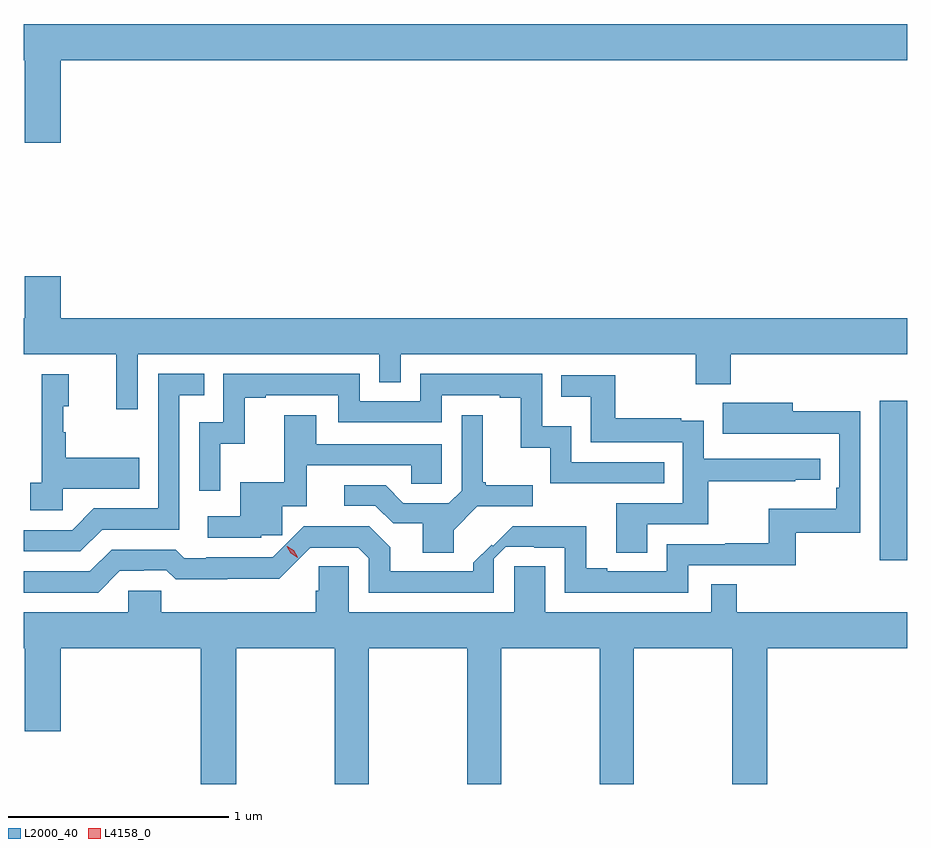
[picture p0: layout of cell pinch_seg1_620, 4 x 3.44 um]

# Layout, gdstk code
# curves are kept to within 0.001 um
import gdstk
lib = gdstk.Library(unit=1e-6, precision=1e-09)
def R(c, l, rs):  # rectangles x0, y0, x1, y1
    for r in rs: c.add(gdstk.rectangle(r[:2], r[2:], *l))
def P(c, l, *ps):  # polygons
    for p in ps: c.add(gdstk.Polygon(p, *l))
L2000_40 = (2000, 40)
L4158_0 = (4158, 0)

pinch_seg1_620 = lib.new_cell('pinch_seg1_620')
R(pinch_seg1_620, L2000_40, [(1139.909,509.508,1140.032,510.229)])
P(pinch_seg1_620, L2000_40, [(1136.2,511.772),(1140.032,511.772),(1140.032,511.936),(1136.032,511.936),(1136.032,511.772),(1136.036,511.772),(1136.036,511.398),(1136.2,511.398)],
  [(1136.547,510.44),(1137.642,510.44),(1137.642,510.313),(1137.738,510.313),(1137.738,510.44),(1139.074,510.44),(1139.074,510.305),(1139.234,510.305),(1139.234,510.44),(1140.032,510.44),(1140.032,510.604),(1136.2,510.604),(1136.2,510.793),(1136.036,510.793),(1136.036,510.604),(1136.032,510.604),(1136.032,510.44),(1136.45,510.44),(1136.45,510.192),(1136.547,510.192)],
  [(1136.922,510.035),(1137.032,510.035),(1137.032,510.243),(1137.127,510.243),(1137.127,510.255),(1137.456,510.255),(1137.456,510.132),(1137.924,510.132),(1137.924,510.255),(1138.187,510.255),(1138.187,510.243),(1138.283,510.243),(1138.283,510.017),(1138.416,510.017),(1138.416,509.856),(1138.931,509.856),(1138.931,509.952),(1138.512,509.952),(1138.512,510.115),(1138.38,510.115),(1138.38,510.351),(1137.828,510.351),(1137.828,510.228),(1137.552,510.228),(1137.552,510.351),(1136.934,510.351),(1136.934,510.132),(1136.826,510.132),(1136.826,509.823),(1136.922,509.823)],
  [(1136.386,509.646),(1136.736,509.646),(1136.736,510.255),(1136.849,510.255),(1136.849,510.351),(1136.64,510.351),(1136.64,509.742),(1136.349,509.742),(1136.25,509.643),(1136.032,509.643),(1136.032,509.547),(1136.287,509.547)],
  [(1136.208,509.831),(1136.555,509.831),(1136.555,509.971),(1136.221,509.971),(1136.221,510.086),(1136.211,510.086),(1136.211,510.204),(1136.236,510.204),(1136.236,510.349),(1136.112,510.349),(1136.112,509.858),(1136.061,509.858),(1136.061,509.733),(1136.208,509.733)],
  [(1138.855,509.67),(1139.132,509.67),(1139.132,509.866),(1139.525,509.866),(1139.525,509.871),(1139.638,509.871),(1139.638,509.967),(1139.112,509.967),(1139.112,510.139),(1139.009,510.139),(1139.009,510.151),(1138.711,510.151),(1138.711,510.345),(1138.465,510.345),(1138.465,510.248),(1138.6,510.248),(1138.6,510.042),(1139.016,510.042),(1139.016,509.766),(1138.715,509.766),(1138.715,509.542),(1138.855,509.542)],
  [(1136.467,509.46),(1136.574,509.46),(1136.574,509.463),(1136.677,509.463),(1136.719,509.421),(1136.952,509.421),(1136.952,509.423),(1137.188,509.423),(1137.33,509.565),(1137.546,509.565),(1137.594,509.517),(1137.594,509.361),(1138.161,509.361),(1138.161,509.514),(1138.215,509.568),(1138.343,509.568),(1138.343,509.565),(1138.482,509.565),(1138.482,509.361),(1139.04,509.361),(1139.04,509.484),(1139.527,509.484),(1139.527,509.631),(1139.82,509.631),(1139.82,510.182),(1139.515,510.182),(1139.515,510.22),(1139.197,510.22),(1139.197,510.08),(1139.724,510.081),(1139.724,509.836),(1139.711,509.836),(1139.711,509.74),(1139.406,509.74),(1139.406,509.585),(1139.209,509.585),(1139.209,509.58),(1138.944,509.58),(1138.944,509.457),(1138.675,509.457),(1138.675,509.47),(1138.579,509.47),(1138.579,509.661),(1138.246,509.661),(1138.157,509.572),(1138.151,509.578),(1138.068,509.496),(1138.068,509.457),(1137.691,509.457),(1137.691,509.567),(1137.597,509.661),(1137.299,509.661),(1137.158,509.52),(1136.857,509.52),(1136.857,509.517),(1136.758,509.517),(1136.719,509.556),(1136.43,509.556),(1136.331,509.457),(1136.032,509.457),(1136.032,509.361),(1136.368,509.361)],
  [(1137.979,509.644),(1138.086,509.751),(1138.336,509.751),(1138.336,509.848),(1138.123,509.848),(1138.123,509.86),(1138.111,509.86),(1138.111,510.163),(1138.014,510.163),(1138.014,509.823),(1137.957,509.766),(1137.751,509.766),(1137.67,509.847),(1137.483,509.847),(1137.483,509.754),(1137.624,509.754),(1137.704,509.674),(1137.839,509.674),(1137.839,509.542),(1137.979,509.542)],
  [(1137.108,509.621),(1137.201,509.621),(1137.201,509.751),(1137.313,509.751),(1137.313,509.937),(1137.787,509.937),(1137.787,509.853),(1137.924,509.853),(1137.924,510.033),(1137.355,510.033),(1137.355,510.163),(1137.211,510.163),(1137.211,509.86),(1137.011,509.86),(1137.011,509.706),(1136.865,509.706),(1136.865,509.61),(1137.108,509.61)],
  [(1136.994,509.108),(1137.439,509.108),(1137.439,508.494),(1137.594,508.494),(1137.594,509.108),(1138.039,509.108),(1138.039,508.494),(1138.194,508.494),(1138.194,509.108),(1138.639,509.108),(1138.639,508.494),(1138.794,508.494),(1138.794,509.108),(1139.239,509.108),(1139.239,508.494),(1139.399,508.494),(1139.399,509.108),(1140.032,509.108),(1140.032,509.272),(1139.261,509.272),(1139.261,509.399),(1139.145,509.399),(1139.145,509.272),(1138.393,509.272),(1138.393,509.48),(1138.253,509.48),(1138.253,509.272),(1137.504,509.272),(1137.504,509.48),(1137.367,509.48),(1137.367,509.37),(1137.353,509.37),(1137.353,509.272),(1136.655,509.272),(1136.655,509.37),(1136.505,509.37),(1136.505,509.272),(1136.032,509.272),(1136.032,509.108),(1136.036,509.108),(1136.036,508.734),(1136.2,508.734),(1136.2,509.108),(1136.834,509.108),(1136.834,508.494),(1136.994,508.494)])
P(pinch_seg1_620, L4158_0, [(1137.272,509.519),(1137.241,509.538),(1137.223,509.571),(1137.223,509.571),(1137.224,509.571),(1137.255,509.552),(1137.273,509.52),(1137.273,509.519)])

lib.write_gds('pinch_seg1_620.gds')
